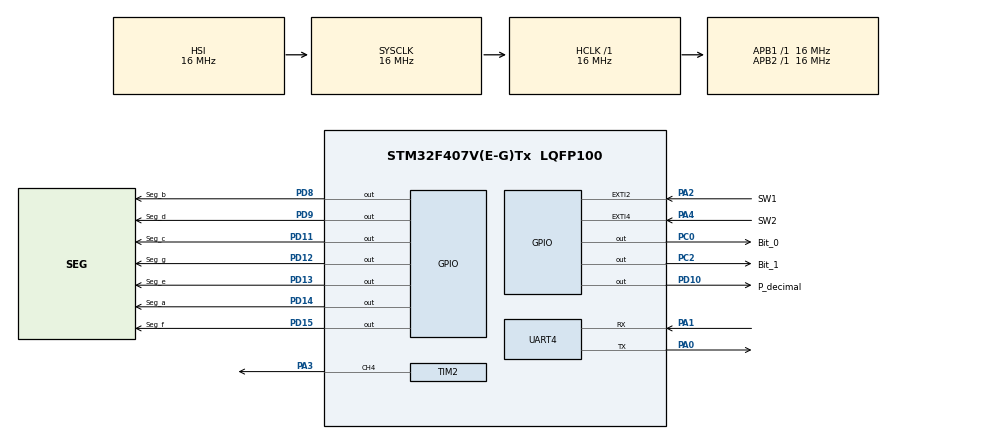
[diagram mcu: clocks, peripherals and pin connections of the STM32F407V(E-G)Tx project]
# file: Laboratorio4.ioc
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FREERTOS.Tasks01=defaultTask,24,128,StartDefaultTask,Default,NULL,Dynamic,NULL,NULL
Mcu.Family=STM32F4
Mcu.Name=STM32F407V(E-G)Tx
Mcu.Package=LQFP100
NVIC.EXTI2_IRQn=true\:5\:0\:false\:false\:true\:true\:true\:true\:true
NVIC.EXTI4_IRQn=true\:5\:0\:false\:false\:true\:true\:true\:true\:true
NVIC.PriorityGroup=NVIC_PRIORITYGROUP_4
NVIC.TIM2_IRQn=true\:5\:0\:false\:false\:true\:true\:true\:true\:true
NVIC.UART4_IRQn=true\:5\:0\:false\:false\:true\:true\:true\:true\:true
PA0-WKUP.Mode=Asynchronous
PA0-WKUP.Signal=UART4_TX
PA1.Mode=Asynchronous
PA1.Signal=UART4_RX
PA2.GPIO_Label=SW1
PA2.GPIO_ModeDefaultEXTI=GPIO_MODE_IT_FALLING
PA2.Signal=GPXTI2
PA3.Signal=S_TIM2_CH4
PA4.GPIO_Label=SW2
PA4.GPIO_ModeDefaultEXTI=GPIO_MODE_IT_FALLING
PA4.Signal=GPXTI4
PC0.GPIO_Label=Bit_0
PC0.Signal=GPIO_Output
PC2.GPIO_Label=Bit_1
PC2.Signal=GPIO_Output
PD10.GPIO_Label=P_decimal
PD10.Signal=GPIO_Output
PD11.GPIO_Label=Seg_c
PD11.Signal=GPIO_Output
PD12.GPIO_Label=Seg_g
PD12.Signal=GPIO_Output
PD13.GPIO_Label=Seg_e
PD13.Signal=GPIO_Output
PD14.GPIO_Label=Seg_a
PD14.Signal=GPIO_Output
PD15.GPIO_Label=Seg_f
PD15.Signal=GPIO_Output
PD8.GPIO_Label=Seg_b
PD8.Signal=GPIO_Output
PD9.GPIO_Label=Seg_d
PD9.Signal=GPIO_Output
ProjectManager.HeapSize=0x200
ProjectManager.StackSize=0x400
ProjectManager.TargetToolchain=STM32CubeIDE
RCC.AHBFreq_Value=16000000
RCC.APB1Freq_Value=16000000
RCC.APB2Freq_Value=16000000
RCC.CortexFreq_Value=16000000
RCC.HSE_VALUE=25000000
RCC.HSI_VALUE=16000000
RCC.LSE_VALUE=32768
RCC.SYSCLKFreq_VALUE=16000000
RCC.VCOOutputFreq_Value=192000000
SH.S_TIM2_CH4.0=TIM2_CH4,PWM Generation4 CH4
TIM2.Channel-PWM\ Generation4\ CH4=TIM_CHANNEL_4
TIM2.Period=7999
TIM2.Pulse-PWM\ Generation4\ CH4=4000
UART4.VirtualMode=Asynchronous
VP_FREERTOS_VS_CMSIS_V2.Mode=CMSIS_V2
VP_TIM2_VS_ClockSourceINT.Mode=Internal
board=custom

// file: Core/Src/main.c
/* USER CODE BEGIN Header */
/**
  ******************************************************************************
  * @file           : main.c
  * @brief          : Main program body
  ******************************************************************************
  * @attention
  *
  * Copyright (c) 2026 STMicroelectronics.
  * All rights reserved.
  *
  * This software is licensed under terms that can be found in the LICENSE file
  * in the root directory of this software component.
  * If no LICENSE file comes with this software, it is provided AS-IS.
  *
  ******************************************************************************
  */
/* USER CODE END Header */
#include "main.h"
#include "cmsis_os.h"

/* USER CODE BEGIN Includes */
#include "LED.h"
#include "contador_display.h"
#include "pulsador.h"
#include "uart.h"
/* USER CODE END Includes */

TIM_HandleTypeDef htim2;

UART_HandleTypeDef huart4;

/* Definitions for defaultTask */
osThreadId_t defaultTaskHandle;
const osThreadAttr_t defaultTask_attributes = {
  .name = "defaultTask",
  .stack_size = 128 * 4,
  .priority = (osPriority_t) osPriorityNormal,
};
/* USER CODE BEGIN PV */
const osThreadAttr_t tareadisplay_ = {
  .name = "tarea_display",
  .stack_size = 128 * 4,
  .priority = (osPriority_t) osPriorityNormal2,
};

const osThreadAttr_t tareacronometro_ = {
  .name = "tarea_cronometro",
  .stack_size = 128 * 4,
  .priority = (osPriority_t) osPriorityNormal2,
};

const osThreadAttr_t tareapulsador1_ = {
  .name = "tarea_pulsador1",
  .stack_size = 128 * 4,
  .priority = (osPriority_t) osPriorityNormal3,
};

const osThreadAttr_t tareapulsador2_ = {
  .name = "tarea_pulsador2",
  .stack_size = 128 * 4,
  .priority = (osPriority_t) osPriorityNormal3,
};

const osThreadAttr_t tareauart_leer_ = {
  .name = "tarea_uart_leer",
  .stack_size = 128 * 4,
  .priority = (osPriority_t) osPriorityNormal3,
};

const osThreadAttr_t tareauart_ejecutar_ = {
  .name = "tarea_uart_ejecutar",
  .stack_size = 128 * 4,
  .priority = (osPriority_t) osPriorityNormal2,
};

const osThreadAttr_t tareauart_enviar_ = {
  .name = "tarea_uart_enviar",
  .stack_size = 128 * 4,
  .priority = (osPriority_t) osPriorityNormal1,
};

osThreadId_t tarea_display;
osThreadId_t tarea_cronometro;
osThreadId_t tarea_pulsador1;
osThreadId_t tarea_pulsador2;
osThreadId_t tarea_uart_leer;
osThreadId_t tarea_uart_ejecutar;
osThreadId_t tarea_uart_enviar;

osSemaphoreId_t sem_Puls1;
osSemaphoreId_t sem_Puls2;
osSemaphoreId_t sem_Uart_ejecutar;

osMessageQueueId_t cola_mensajes;
osMessageQueueId_t cola_caracter;

tiempo cronometro_regresivo;
pulsador SW1;
pulsador SW2;
instruccion UART;

int segundos_recibidos = 10;
uint8_t alarma[] = "ALARMA\n";

//osSemaphoreDef(sem_Puls);
/* USER CODE END PV */

void SystemClock_Config(void);
static void MX_GPIO_Init(void);
static void MX_UART4_Init(void);
static void MX_TIM2_Init(void);
void StartDefaultTask(void *argument);

int main(void)
{

  /* USER CODE BEGIN 1 */
  cronometro_regresivo = tiempo_iniciador();
  UART = uart_iniciar();
  /* USER CODE END 1 */

  /* MCU Configuration--------------------------------------------------------*/

  /* Reset of all peripherals, Initializes the Flash interface and the Systick. */
  HAL_Init();

  /* USER CODE BEGIN Init */
  __HAL_UART_CLEAR_OREFLAG(&huart4);
  __HAL_UART_FLUSH_DRREGISTER(&huart4);
  /* USER CODE END Init */

  /* Configure the system clock */
  SystemClock_Config();

  /* Initialize all configured peripherals */
  MX_GPIO_Init();
  MX_UART4_Init();
  MX_TIM2_Init();
  /* USER CODE BEGIN 2 */
  HAL_UART_Receive_IT(&huart4, &(UART.mensaje), sizeof(uint8_t));
  uint8_t mensaje_modo[] = "Arranque\n";
  HAL_UART_Transmit(&huart4, mensaje_modo, strlen((char*)mensaje_modo), 100);
  /* USER CODE END 2 */

  /* Init scheduler */
  osKernelInitialize();

  /* USER CODE BEGIN RTOS_SEMAPHORES */
  sem_Puls1 = osSemaphoreNew(1, 0, NULL);
  sem_Puls2 = osSemaphoreNew(1, 0, NULL);
  sem_Uart_ejecutar = osSemaphoreNew(1, 0, NULL);
  /* USER CODE END RTOS_SEMAPHORES */

  /* USER CODE BEGIN RTOS_QUEUES */
  cola_mensajes = osMessageQueueNew(8, sizeof(tx_mensaje), NULL);
  cola_caracter = osMessageQueueNew(16, sizeof(uint8_t), NULL);
  /* USER CODE END RTOS_QUEUES */

  /* Create the thread(s) */
  /* creation of defaultTask */
  defaultTaskHandle = osThreadNew(StartDefaultTask, NULL, &defaultTask_attributes);

  /* USER CODE BEGIN RTOS_THREADS */
  /* add threads, ... */
  tarea_display = osThreadNew(manejar_Display, (void*)&cronometro_regresivo, &tareadisplay_);
  tarea_cronometro = osThreadNew(tarea_cronometro_, (void*)&cronometro_regresivo, &tareacronometro_);
  tarea_pulsador1 = osThreadNew(debounce, (void*)&SW1 , &tareapulsador1_);
  tarea_pulsador2 = osThreadNew(debounce, (void*)&SW2 , &tareapulsador2_);
  tarea_uart_leer = osThreadNew(leer_instruccion, (void*)&UART , &tareauart_leer_);
  tarea_uart_ejecutar = osThreadNew(ejecutar_instruccion, (void*)&UART , &tareauart_ejecutar_);
  tarea_uart_enviar = osThreadNew(enviar_instruccion, NULL , &tareauart_enviar_);
  /* USER CODE END RTOS_THREADS */

  /* USER CODE BEGIN RTOS_EVENTS */
  SW1 = pulsador_iniciar(SW1_GPIO_Port, SW1_Pin, EXTI2_IRQn, sem_Puls1);
  SW2 = pulsador_iniciar(SW2_GPIO_Port, SW2_Pin, EXTI4_IRQn, sem_Puls2);
  /* USER CODE END RTOS_EVENTS */

  /* Start scheduler */
  osKernelStart();

  /* We should never get here as control is now taken by the scheduler */

  /* Infinite loop */
  while (1)
  {

  }
}

void SystemClock_Config(void)
{
  RCC_OscInitTypeDef RCC_OscInitStruct = {0};
  RCC_ClkInitTypeDef RCC_ClkInitStruct = {0};

  /** Configure the main internal regulator output voltage
  */
  __HAL_RCC_PWR_CLK_ENABLE();
  __HAL_PWR_VOLTAGESCALING_CONFIG(PWR_REGULATOR_VOLTAGE_SCALE1);

  /** Initializes the RCC Oscillators according to the specified parameters
  * in the RCC_OscInitTypeDef structure.
  */
  RCC_OscInitStruct.OscillatorType = RCC_OSCILLATORTYPE_HSI;
  RCC_OscInitStruct.HSIState = RCC_HSI_ON;
  RCC_OscInitStruct.HSICalibrationValue = RCC_HSICALIBRATION_DEFAULT;
  RCC_OscInitStruct.PLL.PLLState = RCC_PLL_NONE;
  if (HAL_RCC_OscConfig(&RCC_OscInitStruct) != HAL_OK)
  {
    Error_Handler();
  }

  /** Initializes the CPU, AHB and APB buses clocks
  */
  RCC_ClkInitStruct.ClockType = RCC_CLOCKTYPE_HCLK|RCC_CLOCKTYPE_SYSCLK
                              |RCC_CLOCKTYPE_PCLK1|RCC_CLOCKTYPE_PCLK2;
  RCC_ClkInitStruct.SYSCLKSource = RCC_SYSCLKSOURCE_HSI;
  RCC_ClkInitStruct.AHBCLKDivider = RCC_SYSCLK_DIV1;
  RCC_ClkInitStruct.APB1CLKDivider = RCC_HCLK_DIV1;
  RCC_ClkInitStruct.APB2CLKDivider = RCC_HCLK_DIV1;

  if (HAL_RCC_ClockConfig(&RCC_ClkInitStruct, FLASH_LATENCY_0) != HAL_OK)
  {
    Error_Handler();
  }
}

static void MX_TIM2_Init(void)
{

  TIM_ClockConfigTypeDef sClockSourceConfig = {0};
  TIM_MasterConfigTypeDef sMasterConfig = {0};
  TIM_OC_InitTypeDef sConfigOC = {0};

  htim2.Instance = TIM2;
  htim2.Init.Prescaler = 0;
  htim2.Init.CounterMode = TIM_COUNTERMODE_UP;
  htim2.Init.Period = 7999;
  htim2.Init.ClockDivision = TIM_CLOCKDIVISION_DIV1;
  htim2.Init.AutoReloadPreload = TIM_AUTORELOAD_PRELOAD_DISABLE;
  if (HAL_TIM_Base_Init(&htim2) != HAL_OK)
  {
    Error_Handler();
  }
  sClockSourceConfig.ClockSource = TIM_CLOCKSOURCE_INTERNAL;
  if (HAL_TIM_ConfigClockSource(&htim2, &sClockSourceConfig) != HAL_OK)
  {
    Error_Handler();
  }
  if (HAL_TIM_PWM_Init(&htim2) != HAL_OK)
  {
    Error_Handler();
  }
  sMasterConfig.MasterOutputTrigger = TIM_TRGO_RESET;
  sMasterConfig.MasterSlaveMode = TIM_MASTERSLAVEMODE_DISABLE;
  if (HAL_TIMEx_MasterConfigSynchronization(&htim2, &sMasterConfig) != HAL_OK)
  {
    Error_Handler();
  }
  sConfigOC.OCMode = TIM_OCMODE_PWM1;
  sConfigOC.Pulse = 4000;
  sConfigOC.OCPolarity = TIM_OCPOLARITY_HIGH;
  sConfigOC.OCFastMode = TIM_OCFAST_DISABLE;
  if (HAL_TIM_PWM_ConfigChannel(&htim2, &sConfigOC, TIM_CHANNEL_4) != HAL_OK)
  {
    Error_Handler();
  }
  HAL_TIM_MspPostInit(&htim2);

}

static void MX_UART4_Init(void)
{

  huart4.Instance = UART4;
  huart4.Init.BaudRate = 115200;
  huart4.Init.WordLength = UART_WORDLENGTH_8B;
  huart4.Init.StopBits = UART_STOPBITS_1;
  huart4.Init.Parity = UART_PARITY_NONE;
  huart4.Init.Mode = UART_MODE_TX_RX;
  huart4.Init.HwFlowCtl = UART_HWCONTROL_NONE;
  huart4.Init.OverSampling = UART_OVERSAMPLING_16;
  if (HAL_UART_Init(&huart4) != HAL_OK)
  {
    Error_Handler();
  }

}

static void MX_GPIO_Init(void)
{
  GPIO_InitTypeDef GPIO_InitStruct = {0};

  /* GPIO Ports Clock Enable */
  __HAL_RCC_GPIOC_CLK_ENABLE();
  __HAL_RCC_GPIOA_CLK_ENABLE();
  __HAL_RCC_GPIOD_CLK_ENABLE();

  /*Configure GPIO pin Output Level */
  HAL_GPIO_WritePin(GPIOC, Bit_0_Pin|Bit_1_Pin, GPIO_PIN_RESET);

  /*Configure GPIO pin Output Level */
  HAL_GPIO_WritePin(GPIOD, Seg_b_Pin|Seg_d_Pin|P_decimal_Pin|Seg_c_Pin
                          |Seg_g_Pin|Seg_e_Pin|Seg_a_Pin|Seg_f_Pin, GPIO_PIN_RESET);

  /*Configure GPIO pins : Bit_0_Pin Bit_1_Pin */
  GPIO_InitStruct.Pin = Bit_0_Pin|Bit_1_Pin;
  GPIO_InitStruct.Mode = GPIO_MODE_OUTPUT_PP;
  GPIO_InitStruct.Pull = GPIO_NOPULL;
  GPIO_InitStruct.Speed = GPIO_SPEED_FREQ_LOW;
  HAL_GPIO_Init(GPIOC, &GPIO_InitStruct);

  /*Configure GPIO pins : SW1_Pin SW2_Pin */
  GPIO_InitStruct.Pin = SW1_Pin|SW2_Pin;
  GPIO_InitStruct.Mode = GPIO_MODE_IT_FALLING;
  GPIO_InitStruct.Pull = GPIO_NOPULL;
  HAL_GPIO_Init(GPIOA, &GPIO_InitStruct);

  /*Configure GPIO pins : Seg_b_Pin Seg_d_Pin P_decimal_Pin Seg_c_Pin
                           Seg_g_Pin Seg_e_Pin Seg_a_Pin Seg_f_Pin */
  GPIO_InitStruct.Pin = Seg_b_Pin|Seg_d_Pin|P_decimal_Pin|Seg_c_Pin
                          |Seg_g_Pin|Seg_e_Pin|Seg_a_Pin|Seg_f_Pin;
  GPIO_InitStruct.Mode = GPIO_MODE_OUTPUT_PP;
  GPIO_InitStruct.Pull = GPIO_NOPULL;
  GPIO_InitStruct.Speed = GPIO_SPEED_FREQ_LOW;
  HAL_GPIO_Init(GPIOD, &GPIO_InitStruct);

  /* EXTI interrupt init*/
  HAL_NVIC_SetPriority(EXTI2_IRQn, 5, 0);
  HAL_NVIC_EnableIRQ(EXTI2_IRQn);

  HAL_NVIC_SetPriority(EXTI4_IRQn, 5, 0);
  HAL_NVIC_EnableIRQ(EXTI4_IRQn);

}

/* USER CODE BEGIN 4 */
void HAL_GPIO_EXTI_Callback(uint16_t GPIO_Pin)
{
	if(GPIO_Pin == SW1.pin)
	{
		HAL_NVIC_DisableIRQ(SW1.cod_interrupcion);
		if (SW1.semaforo != NULL)
		{
			SW1.estado_anterior = HAL_GPIO_ReadPin(SW1.puerto, SW1.pin);
			osSemaphoreRelease(SW1.semaforo);
		}
	}
	else if(GPIO_Pin == SW2.pin)
	{
		HAL_NVIC_DisableIRQ(SW2.cod_interrupcion);
		if (SW2.semaforo != NULL)
		{
			SW2.estado_anterior = HAL_GPIO_ReadPin(SW2.puerto, SW2.pin);
			osSemaphoreRelease(SW2.semaforo);
		}
	}
}
/* USER CODE END 4 */

void StartDefaultTask(void *argument)
{
  for(;;)
  {
    osDelay(1);
  }
}

void Error_Handler(void)
{
  __disable_irq();
  while (1)
  {
  }
}
